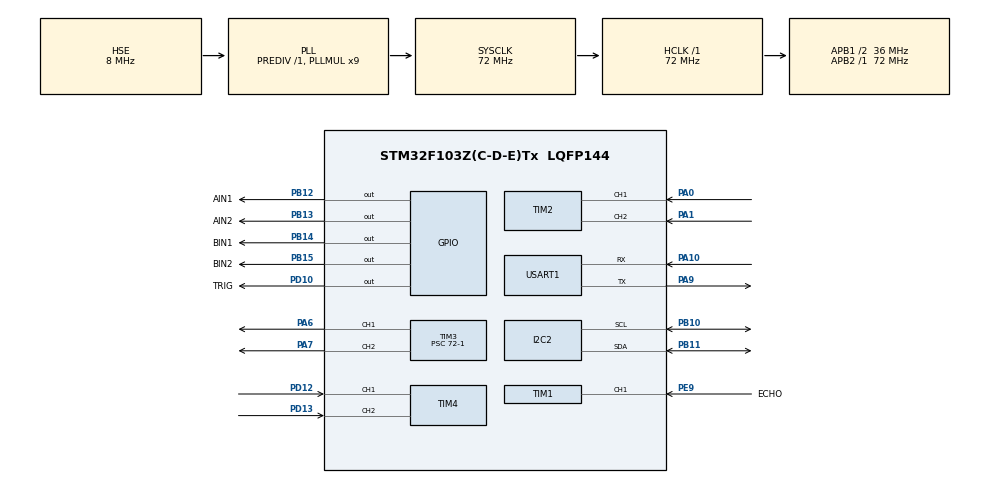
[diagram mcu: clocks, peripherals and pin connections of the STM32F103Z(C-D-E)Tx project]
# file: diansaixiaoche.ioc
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I2C2.I2C_Mode=I2C_Fast
Mcu.Family=STM32F1
Mcu.Name=STM32F103Z(C-D-E)Tx
Mcu.Package=LQFP144
NVIC.PriorityGroup=NVIC_PRIORITYGROUP_4
NVIC.TIM1_CC_IRQn=true\:2\:0\:true\:false\:true\:true\:true\:true
NVIC.TIM2_IRQn=true\:0\:0\:false\:false\:true\:true\:true\:true
NVIC.TIM3_IRQn=true\:3\:0\:true\:false\:true\:true\:true\:true
NVIC.TIM4_IRQn=true\:0\:0\:false\:false\:true\:true\:true\:true
NVIC.TIM6_IRQn=true\:1\:0\:true\:false\:true\:true\:true\:true
NVIC.USART1_IRQn=true\:0\:0\:false\:false\:true\:true\:true\:true
OSC_IN.Mode=HSE-External-Oscillator
OSC_IN.Signal=RCC_OSC_IN
OSC_OUT.Mode=HSE-External-Oscillator
OSC_OUT.Signal=RCC_OSC_OUT
PA0-WKUP.Signal=S_TIM2_CH1_ETR
PA1.Signal=S_TIM2_CH2
PA10.Mode=Asynchronous
PA10.Signal=USART1_RX
PA13.Mode=Serial_Wire
PA13.Signal=SYS_JTMS-SWDIO
PA14.Mode=Serial_Wire
PA14.Signal=SYS_JTCK-SWCLK
PA6.Signal=S_TIM3_CH1
PA7.Signal=S_TIM3_CH2
PA9.Mode=Asynchronous
PA9.Signal=USART1_TX
PB10.Mode=I2C
PB10.Signal=I2C2_SCL
PB11.Mode=I2C
PB11.Signal=I2C2_SDA
PB12.GPIO_Label=AIN1
PB12.Signal=GPIO_Output
PB13.GPIO_Label=AIN2
PB13.Signal=GPIO_Output
PB14.GPIO_Label=BIN1
PB14.Signal=GPIO_Output
PB15.GPIO_Label=BIN2
PB15.Signal=GPIO_Output
PC14-OSC32_IN.Mode=LSE-External-Oscillator
PC14-OSC32_IN.Signal=RCC_OSC32_IN
PC15-OSC32_OUT.Mode=LSE-External-Oscillator
PC15-OSC32_OUT.Signal=RCC_OSC32_OUT
PD10.GPIO_Label=TRIG
PD10.GPIO_PuPd=GPIO_PULLDOWN
PD10.Signal=GPIO_Output
PD12.Signal=S_TIM4_CH1
PD13.Signal=S_TIM4_CH2
PE9.GPIO_Label=ECHO
PE9.GPIO_PuPd=GPIO_PULLDOWN
PE9.Signal=S_TIM1_CH1
ProjectManager.HeapSize=0x200
ProjectManager.StackSize=0x400
ProjectManager.TargetToolchain=MDK-ARM V5.32
RCC.AHBFreq_Value=72000000
RCC.APB1CLKDivider=RCC_HCLK_DIV2
RCC.APB1Freq_Value=36000000
RCC.APB1TimFreq_Value=72000000
RCC.APB2Freq_Value=72000000
RCC.APB2TimFreq_Value=72000000
RCC.HCLKFreq_Value=72000000
RCC.PLLMUL=RCC_PLL_MUL9
RCC.PLLSourceVirtual=RCC_PLLSOURCE_HSE
RCC.SYSCLKFreq_VALUE=72000000
RCC.SYSCLKSource=RCC_SYSCLKSOURCE_PLLCLK
RCC.USBFreq_Value=72000000
SH.S_TIM1_CH1.0=TIM1_CH1,Input_Capture1_from_TI1
SH.S_TIM2_CH1_ETR.0=TIM2_CH1,Encoder_Interface
SH.S_TIM2_CH2.0=TIM2_CH2,Encoder_Interface
SH.S_TIM3_CH1.0=TIM3_CH1,PWM Generation1 CH1
SH.S_TIM3_CH2.0=TIM3_CH2,PWM Generation2 CH2
SH.S_TIM4_CH1.0=TIM4_CH1,Encoder_Interface
SH.S_TIM4_CH2.0=TIM4_CH2,Encoder_Interface
TIM1.AutoReloadPreload=TIM_AUTORELOAD_PRELOAD_ENABLE
TIM1.Channel-Input_Capture1_from_TI1=TIM_CHANNEL_1
TIM1.Prescaler=72-1
TIM2.EncoderMode=TIM_ENCODERMODE_TI12
TIM2.IC1Filter=15
TIM2.IC2Filter=15
TIM3.Channel-PWM\ Generation1\ CH1=TIM_CHANNEL_1
TIM3.Channel-PWM\ Generation2\ CH2=TIM_CHANNEL_2
TIM3.Period=10000 - 1
TIM3.Prescaler=72-1
TIM4.EncoderMode=TIM_ENCODERMODE_TI12
TIM4.IC1Filter=15
TIM4.IC2Filter=15
TIM6.AutoReloadPreload=TIM_AUTORELOAD_PRELOAD_ENABLE
TIM6.Period=7000-1
TIM6.Prescaler=720-1
USART1.VirtualMode=VM_ASYNC
VP_TIM1_VS_ClockSourceINT.Mode=Internal
VP_TIM3_VS_ClockSourceINT.Mode=Internal
VP_TIM6_VS_ClockSourceINT.Mode=Enable_Timer
board=custom

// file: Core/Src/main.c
/* USER CODE BEGIN Header */
/**
  ******************************************************************************
  * @file           : main.c
  * @brief          : Main program body
  ******************************************************************************
  * @attention
  *
  * Copyright (c) 2024 STMicroelectronics.
  * All rights reserved.
  *
  * This software is licensed under terms that can be found in the LICENSE file
  * in the root directory of this software component.
  * If no LICENSE file comes with this software, it is provided AS-IS.
  *
  ******************************************************************************
  */
/* USER CODE END Header */
#include "main.h"
#include "i2c.h"
#include "tim.h"
#include "usart.h"
#include "gpio.h"
#include "openmv.h"
/* USER CODE BEGIN Includes */

#include <stdio.h>
#include <string.h>
//#include "MPU6050.h"
#include "Motor.h"
#include "control.h"

/* USER CODE END Includes */

/* USER CODE BEGIN PV */

//extern int result;		//陀螺仪初始化结果
//extern float pitch;		//三个角度
//extern float yaw;
//extern float roll;

//测试用
extern Motor motor1;
extern Motor motor2;
extern float target_speed1;
extern float target_speed2;
extern float distance_out1;
extern float distance_out2;

/* USER CODE END PV */

void SystemClock_Config(void);

int main(void)
{

  /* MCU Configuration--------------------------------------------------------*/

  /* Reset of all peripherals, Initializes the Flash interface and the Systick. */
  HAL_Init();

  /* Configure the system clock */
  SystemClock_Config();

  /* Initialize all configured peripherals */
  MX_GPIO_Init();
  MX_TIM2_Init();
  MX_TIM3_Init();
  MX_TIM4_Init();
  MX_I2C2_Init();
  MX_USART1_UART_Init();
  MX_TIM6_Init();
  MX_TIM1_Init();
  /* USER CODE BEGIN 2 */

	//陀螺仪初始化
//	result = MPU6050_DMP_Init();
//	if(result!=0)
//	{
//		while(result)
//		{
//			HAL_Delay(100);
//			result = MPU6050_DMP_Init();
//			printf("mpu init error:%d",result);
//		}
//	}

	//初始化
	control_init();

  /* USER CODE END 2 */

  /* Infinite loop */
  /* USER CODE BEGIN WHILE */
  while (1)
  {
	printf("%f,%f,%f,%f\n", distance_out1, motor1.speed, distance_out2 , motor2.speed);
    /* USER CODE END WHILE */

  }
}

void SystemClock_Config(void)
{
  RCC_OscInitTypeDef RCC_OscInitStruct = {0};
  RCC_ClkInitTypeDef RCC_ClkInitStruct = {0};

  /** Initializes the RCC Oscillators according to the specified parameters
  * in the RCC_OscInitTypeDef structure.
  */
  RCC_OscInitStruct.OscillatorType = RCC_OSCILLATORTYPE_HSE;
  RCC_OscInitStruct.HSEState = RCC_HSE_ON;
  RCC_OscInitStruct.HSEPredivValue = RCC_HSE_PREDIV_DIV1;
  RCC_OscInitStruct.HSIState = RCC_HSI_ON;
  RCC_OscInitStruct.PLL.PLLState = RCC_PLL_ON;
  RCC_OscInitStruct.PLL.PLLSource = RCC_PLLSOURCE_HSE;
  RCC_OscInitStruct.PLL.PLLMUL = RCC_PLL_MUL9;
  if (HAL_RCC_OscConfig(&RCC_OscInitStruct) != HAL_OK)
  {
    Error_Handler();
  }

  /** Initializes the CPU, AHB and APB buses clocks
  */
  RCC_ClkInitStruct.ClockType = RCC_CLOCKTYPE_HCLK|RCC_CLOCKTYPE_SYSCLK
                              |RCC_CLOCKTYPE_PCLK1|RCC_CLOCKTYPE_PCLK2;
  RCC_ClkInitStruct.SYSCLKSource = RCC_SYSCLKSOURCE_PLLCLK;
  RCC_ClkInitStruct.AHBCLKDivider = RCC_SYSCLK_DIV1;
  RCC_ClkInitStruct.APB1CLKDivider = RCC_HCLK_DIV2;
  RCC_ClkInitStruct.APB2CLKDivider = RCC_HCLK_DIV1;

  if (HAL_RCC_ClockConfig(&RCC_ClkInitStruct, FLASH_LATENCY_2) != HAL_OK)
  {
    Error_Handler();
  }
}

/* USER CODE BEGIN 4 */

int fputc(int ch,FILE *f)
{
  HAL_UART_Transmit(&huart1,(uint8_t *)&ch,1,1000);  //使用UART1，重定向
  return ch;
}

int fgetc(FILE * F)
{
  uint8_t ch_r;
  HAL_UART_Receive (&huart1,&ch_r,1,0xffff);		//接收
  return ch_r;
}

/* USER CODE END 4 */

void Error_Handler(void)
{
  __disable_irq();
  while (1)
  {
  }
}
